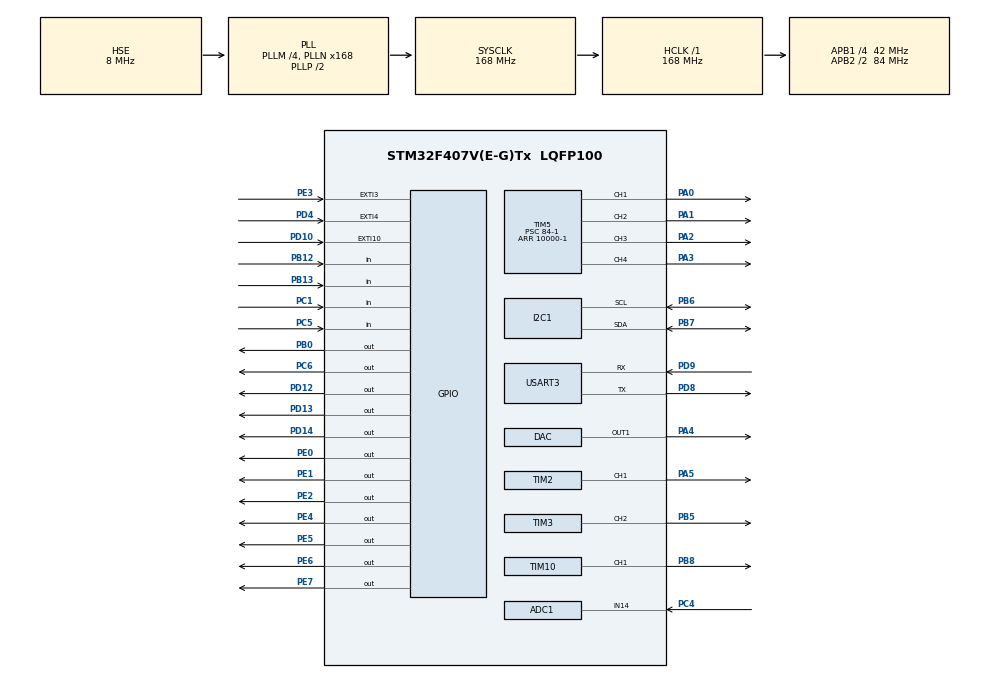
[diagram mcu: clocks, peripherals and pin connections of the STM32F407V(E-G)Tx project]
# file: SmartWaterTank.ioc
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ADC1.Channel-0\#ChannelRegularConversion=ADC_CHANNEL_14
ADC1.ContinuousConvMode=ENABLE
ADC1.DMAContinuousRequests=ENABLE
ADC1.NbrOfConversion=1
ADC1.NbrOfConversionFlag=1
ADC1.Rank-0\#ChannelRegularConversion=1
ADC1.SamplingTime-0\#ChannelRegularConversion=ADC_SAMPLETIME_84CYCLES
ADC1.ScanConvMode=ENABLE
ADC1.master=1
Dma.ADC1.0.Direction=DMA_PERIPH_TO_MEMORY
Dma.ADC1.0.FIFOMode=DMA_FIFOMODE_DISABLE
Dma.ADC1.0.Instance=DMA2_Stream0
Dma.ADC1.0.MemDataAlignment=DMA_MDATAALIGN_HALFWORD
Dma.ADC1.0.MemInc=DMA_MINC_ENABLE
Dma.ADC1.0.Mode=DMA_CIRCULAR
Dma.ADC1.0.PeriphDataAlignment=DMA_PDATAALIGN_HALFWORD
Dma.ADC1.0.PeriphInc=DMA_PINC_DISABLE
Dma.ADC1.0.Priority=DMA_PRIORITY_LOW
Dma.Request0=ADC1
I2C1.I2C_Mode=I2C_Fast
Mcu.Family=STM32F4
Mcu.Name=STM32F407V(E-G)Tx
Mcu.Package=LQFP100
NVIC.DMA2_Stream0_IRQn=true\:0\:0\:false\:false\:true\:false\:true\:true
NVIC.EXTI15_10_IRQn=true\:0\:0\:false\:true\:true\:3\:true\:true\:true
NVIC.EXTI3_IRQn=true\:0\:0\:false\:true\:true\:5\:true\:true\:true
NVIC.EXTI4_IRQn=true\:0\:0\:false\:true\:true\:4\:true\:true\:true
NVIC.PriorityGroup=NVIC_PRIORITYGROUP_4
NVIC.TIM6_DAC_IRQn=true\:0\:0\:false\:true\:true\:8\:true\:true\:true
NVIC.TIM7_IRQn=true\:0\:0\:false\:true\:true\:2\:true\:true\:true
NVIC.TIM8_TRG_COM_TIM14_IRQn=true\:0\:0\:false\:true\:true\:6\:true\:true\:true
NVIC.TIM8_UP_TIM13_IRQn=true\:0\:0\:false\:true\:true\:7\:true\:true\:true
NVIC.USART3_IRQn=true\:0\:0\:false\:true\:true\:1\:true\:true\:true
PA0-WKUP.Signal=S_TIM5_CH1
PA1.Signal=S_TIM5_CH2
PA2.Signal=S_TIM5_CH3
PA3.Signal=S_TIM5_CH4
PA4.Signal=COMP_DAC1_group
PA5.Signal=S_TIM2_CH1_ETR
PB0.Signal=GPIO_Output
PB12.Signal=GPIO_Input
PB13.Signal=GPIO_Input
PB5.Signal=S_TIM3_CH2
PB6.Mode=I2C
PB6.Signal=I2C1_SCL
PB7.Mode=I2C
PB7.Signal=I2C1_SDA
PB8.Signal=S_TIM10_CH1
PC1.Signal=GPIO_Input
PC14-OSC32_IN.Mode=LSE-External-Oscillator
PC14-OSC32_IN.Signal=RCC_OSC32_IN
PC15-OSC32_OUT.Mode=LSE-External-Oscillator
PC15-OSC32_OUT.Signal=RCC_OSC32_OUT
PC4.Signal=ADCx_IN14
PC5.Signal=GPIO_Input
PC6.Signal=GPIO_Output
PD10.Signal=GPXTI10
PD12.Signal=GPIO_Output
PD13.Signal=GPIO_Output
PD14.Signal=GPIO_Output
PD4.Signal=GPXTI4
PD8.Mode=Asynchronous
PD8.Signal=USART3_TX
PD9.Mode=Asynchronous
PD9.Signal=USART3_RX
PE0.Signal=GPIO_Output
PE1.Signal=GPIO_Output
PE2.Signal=GPIO_Output
PE3.Signal=GPXTI3
PE4.Signal=GPIO_Output
PE5.Signal=GPIO_Output
PE6.Signal=GPIO_Output
PE7.Signal=GPIO_Output
PH0-OSC_IN.Mode=HSE-External-Oscillator
PH0-OSC_IN.Signal=RCC_OSC_IN
PH1-OSC_OUT.Mode=HSE-External-Oscillator
PH1-OSC_OUT.Signal=RCC_OSC_OUT
ProjectManager.HeapSize=0x200
ProjectManager.StackSize=0x400
ProjectManager.TargetToolchain=STM32CubeIDE
RCC.48MHZClocksFreq_Value=84000000
RCC.AHBFreq_Value=168000000
RCC.APB1CLKDivider=RCC_HCLK_DIV4
RCC.APB1Freq_Value=42000000
RCC.APB1TimFreq_Value=84000000
RCC.APB2CLKDivider=RCC_HCLK_DIV2
RCC.APB2Freq_Value=84000000
RCC.APB2TimFreq_Value=168000000
RCC.CortexFreq_Value=168000000
RCC.HCLKFreq_Value=168000000
RCC.HSE_VALUE=8000000
RCC.HSI_VALUE=16000000
RCC.PLLM=4
RCC.PLLN=168
RCC.PLLSourceVirtual=RCC_PLLSOURCE_HSE
RCC.RCC_RTC_Clock_Source_FROM_HSE=RCC_RTCCLKSOURCE_HSE_DIV16
RCC.SYSCLKFreq_VALUE=168000000
RCC.SYSCLKSource=RCC_SYSCLKSOURCE_PLLCLK
RCC.VCOOutputFreq_Value=336000000
RTC.Date=1
RTC.Format=RTC_FORMAT_BIN
RTC.Hours=1
RTC.Minutes=0
RTC.Month=RTC_MONTH_APRIL
RTC.Seconds=0
RTC.SynchPrediv=249
RTC.Year=0
SH.ADCx_IN14.0=ADC1_IN14,IN14
SH.COMP_DAC1_group.0=DAC_OUT1,DAC_OUT1
SH.S_TIM10_CH1.0=TIM10_CH1,PWM Generation1 CH1
SH.S_TIM2_CH1_ETR.0=TIM2_CH1,PWM Generation1 CH1
SH.S_TIM3_CH2.0=TIM3_CH2,PWM Generation2 CH2
SH.S_TIM5_CH1.0=TIM5_CH1,PWM Generation1 CH1
SH.S_TIM5_CH2.0=TIM5_CH2,PWM Generation2 CH2
SH.S_TIM5_CH3.0=TIM5_CH3,PWM Generation3 CH3
SH.S_TIM5_CH4.0=TIM5_CH4,PWM Generation4 CH4
TIM10.Channel=TIM_CHANNEL_1
TIM10.Period=10000-1
TIM10.Prescaler=336-1
TIM10.Pulse=100
TIM13.Period=8399
TIM13.Prescaler=9999
TIM14.Period=8399
TIM14.Prescaler=9999
TIM2.Channel-PWM\ Generation1\ CH1=TIM_CHANNEL_1
TIM2.Period=168-1
TIM2.Prescaler=1000-1
TIM2.Pulse-PWM\ Generation1\ CH1=84
TIM3.Channel-PWM\ Generation2\ CH2=TIM_CHANNEL_2
TIM3.Period=42000-1
TIM3.Prescaler=10-1
TIM3.Pulse-PWM\ Generation2\ CH2=10500-1
TIM4.Period=42000-1
TIM4.Prescaler=19
TIM5.Channel-PWM\ Generation1\ CH1=TIM_CHANNEL_1
TIM5.Channel-PWM\ Generation2\ CH2=TIM_CHANNEL_2
TIM5.Channel-PWM\ Generation3\ CH3=TIM_CHANNEL_3
TIM5.Channel-PWM\ Generation4\ CH4=TIM_CHANNEL_4
TIM5.Period=10000-1
TIM5.Prescaler=84-1
TIM5.Pulse-PWM\ Generation1\ CH1=5000
TIM6.Period=4199
TIM6.Prescaler=9999
TIM7.Period=8399
TIM7.Prescaler=9999
USART3.VirtualMode=VM_ASYNC
VP_RTC_VS_RTC_Activate.Mode=RTC_Enabled
VP_RTC_VS_RTC_Calendar.Mode=RTC_Calendar
VP_TIM10_VS_ClockSourceINT.Mode=Enable_Timer
VP_TIM13_VS_ClockSourceINT.Mode=Enable_Timer
VP_TIM14_VS_ClockSourceINT.Mode=Enable_Timer
VP_TIM2_VS_ClockSourceINT.Mode=Internal
VP_TIM3_VS_ClockSourceINT.Mode=Internal
VP_TIM4_VS_ClockSourceINT.Mode=Internal
VP_TIM5_VS_ClockSourceINT.Mode=Internal
VP_TIM6_VS_ClockSourceINT.Mode=Enable_Timer
VP_TIM7_VS_ClockSourceINT.Mode=Enable_Timer
board=custom

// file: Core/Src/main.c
/* USER CODE BEGIN Header */
/**
  ******************************************************************************
  * @file           : main.c
  * @brief          : Main program body
  ******************************************************************************
  * @attention
  *
  * Copyright (c) 2024 STMicroelectronics.
  * All rights reserved.
  *
  * This software is licensed under terms that can be found in the LICENSE file
  * in the root directory of this software component.
  * If no LICENSE file comes with this software, it is provided AS-IS.
  *
  ******************************************************************************
  */
/* USER CODE END Header */
#include "main.h"
#include "adc.h"
#include "dac.h"
#include "dma.h"
#include "i2c.h"
#include "rtc.h"
#include "tim.h"
#include "usart.h"
#include "gpio.h"

/* USER CODE BEGIN Includes */
#include "CLCD.h"
#include <stdio.h>
#include "7SEG.h"
#include <math.h>// DAC sin wave
#include "stdbool.h"
#include "rtc.h"
#include <time.h>
/* USER CODE END Includes */

/* USER CODE BEGIN PTD */
typedef enum{
   ZERO,
   YEAR,
   MONTH,
   DATE,
   AMPM,
   HOUR,
   MINUTE,
   SECOND, //6
}_SetTime;
typedef enum{ // use only alarm setting
aMONTH,
aDATE,
//aAMPM,
aHOUR,
aMINUTE,
}_SetAlarm ;
typedef enum{
   NO_SET,
   TIME_SET,
   ALARM_SET,
}_MODE;

typedef enum{
   VIEW_VIEW,
   VIEW_NORMAL,
   VIEW_ALARM,
   VIEW_TEST,
   VIEW_CHANGING,
   //BELL,//3
}_VIEW;
typedef enum{
   ALARM_ZERO,
   ALARM_ONE,
   ALARM_TWO,
}_ALARMCALL;
typedef enum{
   NONE,
   SW_ONE,
   SW_TWO,
   SW_THREE,
   SW_FOUR,
}_SW_BUTT0N;
//-=-=-=-------------------------------rebuild timer code-----------//
typedef enum{
   d_setmonths,//0
    d_January, // 1
    d_February,
    d_March,
    d_April,
    d_May,
    d_June,
    d_July,
    d_August,
    d_September,
    d_October,
    d_November,
    d_December, //12
    d_Overmonths, //13
}D_MONTHS;
//----------------------------------------main mode change test by switch------------------//
typedef enum{
   switch_normal, //0
   switch_normalTimeSet,
   switch_alarm,
   switch_alarmTimeSet,
   switch_test,
   switch_viewchanging,
}_SWITCH_VIEWMODE;
/* USER CODE END PTD */

/* USER CODE BEGIN PM */
uint32_t time_sec = 0;
uint8_t toggle=0;  //test

uint8_t AMPM_Change = 0;
uint8_t moter_Change = 0;

uint8_t alarm_flag = 0;

uint8_t tmp = 0;

uint32_t Moter14_PWM_Leval = 0;
uint32_t Moter23_PWM_Leval = 0;
uint32_t view_MoterPower14 =0;
uint32_t view_MoterPower23 =0;

uint8_t testNum = 0;
uint8_t testNum2 = 7;
uint8_t testNum3 = 0;

uint8_t MoterIOset = 0;

uint16_t adcval[1]; // adc1 setting
/* USER CODE END PM */

/* USER CODE BEGIN PV */
//uint8_t rx3_data; // UART

//-----------------------------RTC Input code-------------------------------------------------//
RTC_TimeTypeDef sTime;  //set
RTC_TimeTypeDef aTime; //alarm
//RTC_InitTypeDef sInit;//########################333333

RTC_DateTypeDef sDate; //set
RTC_DateTypeDef aDate; //alarm

//-------------------------------------------------------------------------------------------//

char moter_state[2][3] = {"on", "off"};
char ampm[2][3] = {"AM", "PM"}; //2차원 문자 배열// AM = 0, PM = 1 ?

_SetTime set_time = ZERO; //setmode 0
_MODE mode=NO_SET;  //mode set
_VIEW view=VIEW_NORMAL;
_ALARMCALL alarmcall=ALARM_ZERO;
_SetAlarm setalarm =aMONTH;
_SW_BUTT0N sw_button=NONE;
_SW_BUTT0N direction;
_SW_BUTT0N sw_button_before=NONE;

D_MONTHS d_months = d_setmonths;

_SWITCH_VIEWMODE switch_viewmode = switch_normal;
//-------------------------------------ctrl c+v-----https://eteo.tistory.com/91----------------//
uint32_t old_tick=0;
uint32_t current_tick=0;
uint32_t current_BtnTick=0;

uint32_t old_alarm_tick=0;
uint32_t current_alarm_tick=0;

uint32_t btn_tick=0;

uint8_t alarm_on=0;

uint32_t abuzzer_tick1 = 0;
uint32_t abuzzer_tick2 = 0;
uint32_t abuzzer_tick3 = 0;
uint32_t abuzzer_tick4 = 0;

uint8_t prealarm_state = 0;
uint8_t alarm_state = 0;

int alarmCalled = 0;
int water_change_complete = 0;
int water_change_complete_buzzer = 0;

uint8_t for_test = 0;

//--------------------------------------btn on/off check
typedef struct{
   uint8_t ch;
   uint8_t state;
   uint32_t repeat_time;
   uint32_t pre_time;
}button_obj_t;

typedef struct{
   uint8_t Year;
   uint8_t Months;
   uint8_t Date;
   uint8_t Hour;
   uint8_t Min;
   uint8_t Sec;
}set_daytime;
//suho begin-----------------------------------------//
typedef struct{
   uint8_t aMonths;
   uint8_t aDate;
   uint8_t aHour;
   uint8_t aMin;
}set_alarmtime;
//suho end------------------------------------------//
typedef struct{
   uint8_t m_Year;
   uint8_t m_Months;
   uint8_t m_Date;
   uint8_t m_Hour;
   uint8_t m_Min;
   uint8_t m_Sec;
}set_M_time;

enum notes{ // arr = 168
   do4 = 1915, //261hz
   re4 = 1706, //293,
   mi4 = 1519,//329,
   fa4 = 1432,//349,
   sol4 =1278,//391,
   la4 = 1136,//440,
   ti4 = 1014,//493,
};

typedef struct{
   uint32_t MoterPower14;
   uint32_t MoterPower23;
   bool MoterStart23;
   bool MoterStart14;
   uint8_t PWM_l;
}MoterControl;

//----------------------------InOut System------------//
typedef struct{
	uint8_t Turbidity_1;
	uint8_t AlarmSet_1;
	uint8_t MoterOn_PushSW_1;
}MoterInOutSystem;
//------------------------------------------------------------------------------------------//

/* USER CODE END PV */

void SystemClock_Config(void);
static void MX_NVIC_Init(void);
/* USER CODE BEGIN PFP */
void getBtn();
void move_cur_time(set_M_time *m_time, _SW_BUTT0N  sw_button);
//--------------------------------------------------------------------------btn on/off check
void buttonObjCreate(button_obj_t *p_obj, uint32_t repeat_time);
bool buttonObjGetClicked(button_obj_t *p_obj, uint32_t pressed_time);

void dayDateCreate(set_daytime *t_obj, uint16_t t_year, uint16_t t_months, uint16_t t_date);
void daytimeCreate(set_daytime *t_obj, uint32_t t_hour, uint32_t t_min, uint32_t t_sec);
void daytimeview(set_daytime *t_obj);

void AlarmDateCreate(set_alarmtime *t_obj, uint16_t t_months, uint16_t t_date);
void AlarmtimeCreate(set_alarmtime *t_obj, uint32_t t_hour, uint32_t t_min);

void Set_Move_time(set_daytime *t_obj, set_M_time *m_time);
void Load_timeSet(set_daytime *t_obj, set_M_time *m_time);

void Set_Move_alarm(set_alarmtime *t_obj, set_M_time *m_time);//$$$$$$$$$$$$$$$$$$$$$$
void Load_alarmSet(set_alarmtime *t_obj, set_M_time *m_time);

void MoterCreate(MoterControl *M_obj);
void MoterStart1(MoterControl *M_obj);
void MoterMoving(MoterControl *M_obj);

void ChangeMstate14F(MoterControl *M_obj);
void ChangeMstate14T(MoterControl *M_obj);
void ChangeMstate23F(MoterControl *M_obj);
void ChangeMstate23T(MoterControl *M_obj);

int sound_start(int arr[], int len, int giye, int number, int *play_condition);

void MoterSystemCreate(MoterInOutSystem *MIO_S);

void WaterIOS_PushSw(MoterInOutSystem *MIO_S);
void WaterIOS_Turbidity(MoterInOutSystem *MIO_S);
void WaterIOS_AlarmSet(MoterInOutSystem *MIO_S);

void WaterInOutsystem(MoterInOutSystem *MIO_S, MoterControl *M_obj); // senser, alram, direct SW
/* USER CODE END PFP */

/* USER CODE BEGIN 0 */

//------------------------------------------------------------uart??------------------------//
/*int _write(int file, char* p, int len)
{
   HAL_UART_Transmit(&huart3,  p,  len, 10);
   return len;
}
*/
//-------------------------------------------------------------------------------------------//

/* USER CODE END 0 */

int main(void)
{
  /* USER CODE BEGIN 1 */
   //volatile uint16_t adcval[4];  // adc control ?
  /* USER CODE END 1 */

  /* MCU Configuration--------------------------------------------------------*/

  /* Reset of all peripherals, Initializes the Flash interface and the Systick. */
  HAL_Init();

  /* Configure the system clock */
  SystemClock_Config();

  /* Initialize all configured peripherals */
  MX_GPIO_Init();
  MX_DMA_Init();
  MX_USART3_UART_Init();
  MX_TIM7_Init();
  MX_TIM3_Init();
  MX_TIM4_Init();
  MX_TIM10_Init();
  MX_TIM2_Init();
  MX_TIM5_Init();
  MX_ADC1_Init();
  MX_DAC_Init();
  MX_I2C1_Init();
  MX_RTC_Init();
  MX_TIM13_Init();
  MX_TIM14_Init();
  MX_TIM6_Init();

  /* Initialize interrupts */
  MX_NVIC_Init();
  /* USER CODE BEGIN 2 */
  //---------------------------------------------------------right led --//use PMW -> TIM3_CH1,2,3-----//
    HAL_GPIO_WritePin(GPIOC, GPIO_PIN_6, GPIO_PIN_SET);
    HAL_GPIO_WritePin(GPIOB, GPIO_PIN_0, GPIO_PIN_SET);
    HAL_GPIO_WritePin(GPIOB, GPIO_PIN_5, GPIO_PIN_SET);
  //---------------------------------------------------------left led---//use PMW -> TIM4_CH1,2,3-----//
    HAL_GPIO_WritePin(GPIOD, GPIO_PIN_12, GPIO_PIN_SET);
    HAL_GPIO_WritePin(GPIOD, GPIO_PIN_13, GPIO_PIN_SET);
    HAL_GPIO_WritePin(GPIOD, GPIO_PIN_14, GPIO_PIN_SET);
  //----------------------------------------------------------------------------------------------//
    //HAL_UART_Receive_IT(&huart3, &rx3_data, 1);  //lesson 2-3 make uart Intterupt
    HAL_TIM_Base_Start_IT(&htim7);// system clock?--------------------------TIM7----1.0s------------//

    HAL_TIM_Base_Start_IT(&htim6);
    HAL_TIM_Base_Start_IT(&htim13);
    HAL_TIM_Base_Start_IT(&htim14);
    //---------------------CLCD Setting--------------------------------------------------------//
    CLCD_GPIO_Init();
    CLCD_Init();
    //------------------------------------------------------------------------------------------//
    //CLCD_Puts(0,0, "Welcome to");
    //CLCD_Puts(0,1, "M-HIVE");
    CLCD_Clear();

    _7SEG_GPIO_Init();// _7SEG_GPIO Setting-----------------------------------------------//

 //-------------------------------------------led PWM Control---------if use this, go down "TIM3,4 Interrupt"------//
    /*
    HAL_TIM_PWM_Start(&htim3, TIM_CHANNEL_1);  //R led
    HAL_TIM_PWM_Start(&htim3, TIM_CHANNEL_2);
    HAL_TIM_PWM_Start(&htim3, TIM_CHANNEL_3);

    HAL_TIM_PWM_Start(&htim4, TIM_CHANNEL_1);  //L led
    HAL_TIM_PWM_Start(&htim4, TIM_CHANNEL_2);
    HAL_TIM_PWM_Start(&htim4, TIM_CHANNEL_3);
    */
 //-----------------------------------------------------------------------------------------------------------//
    //HAL_TIM_PWM_Start(&htim2, TIM_CHANNEL_1); //buzzer
     //HAL_TIM_PWM_Start(&htim5, TIM_CHANNEL_1);  // dc moter
     //HAL_TIM_PWM_Start(&htim5, TIM_CHANNEL_4); // dc moter

    //HAL_ADC_Start_DMA(&hadc1, adcval[0], 4);
    //HAL_DAC_Start(&hdac, DAC_CHANNEL_1);
    HAL_ADC_Start_DMA(&hadc1, &adcval[0], 1);
 //----------------------------------new time code start-------------------------------------------------//
    button_obj_t push_btn; //+++++++
    buttonObjCreate(&push_btn, 1000); // (button_obj_t *p_obj, uint32_t repeat_time);@@@@@@@@@@@@@@@@@@@@@@@@@@@@@

    set_daytime d_date;
    dayDateCreate(&d_date, 24, 12, 31);
    daytimeCreate(&d_date, 23, 59, 58);

    set_alarmtime a_date; //suho
    AlarmDateCreate(&a_date, 01, 02);
    AlarmtimeCreate(&a_date, 03, 00);

   MoterControl m_con;
   MoterCreate(&m_con);

	MoterInOutSystem MIOS;
	MoterSystemCreate(&MIOS);
    //=========================================================rebuild timer========//
    set_M_time M_Time;
//------------------------------------------------------------------------------------------------//
    uint8_t alarm=1;

  /* USER CODE END 2 */

  /* Infinite loop */
  /* USER CODE BEGIN WHILE */
    uint8_t str[20]; // used CLCD
    uint8_t tmpDate[20]; // CLCD
    uint8_t tmpTime[20]; // CLCD
    uint8_t tmpMode[20];
    uint8_t tmpCLCD[20];

    uint8_t pretmp = 1;
    //uint8_t arr = TIM2 -> ARR;

    enum notes A[] = {mi4, re4, do4, re4, mi4, mi4, mi4, re4, re4, re4, mi4, mi4, mi4};
    int notes_num[] = {2,7,1,7,0,7,1,7,2,7,2,7,2,7,1,7,1,7,1,7,2,7,2,7,2,8};
    int aa = sizeof(notes_num)/sizeof(int);
    int test_num = 0;

    //uint16_t ccr = 0;   //led pwm control
    //uint16_t psc = 1000; //??
    //uint8_t ud_flag = 0; //??
    //uint16_t dacval = 0;//dac control

    uint8_t alarm_from_nowon = 0;
//$$$$$$$$$$$$$$$$$$$$$$$$$$$$$$$$$$$$$$$$$$$$$$$$$$$$$$$$$$$$$$$$$$$$$$$$$$$$$$$$$$$$$$$$$$$$$$$$$$$$$$$$$$$$$$$$44//
    uint8_t old_Sec = d_date.Sec;
    uint8_t k =0;

    int l = 0;
    int j = notes_num[l];
    int na = 0;
    uint16_t turbidity = adcval[0]; // turbidity value in
  while (1)
  {
	  MoterStart1(&m_con); //moter14 and 23 start/stop
	  MoterMoving(&m_con);// moter power level up/down
	  current_BtnTick=HAL_GetTick();// need buttonObjGetClicked
	  daytimeview(&d_date);// timer starting
//--switch changing code test start---------------------------------------------------------------//
	  switch (switch_viewmode) { // was view and mode change
	  case switch_normal :
//case 0=switch_normal================================================================//
		  sprintf(tmpDate, "TIME 20%02d.%02d.%02d ", d_date.Year, d_date.Months, d_date.Date); //CLCD 16
		  CLCD_Puts(0,0, tmpDate);
		  sprintf(tmpTime, "       %02d:%02d    ", d_date.Hour, d_date.Min); // [7], 5, [4] = 16
		  CLCD_Puts(0,1, tmpTime);

		  if(old_Sec != d_date.Sec){ //_7SEG_led *
			  _7SEG_SetNumber(DGT1, d_date.Sec/10, OFF);
			  _7SEG_SetNumber(DGT2, d_date.Sec%10, ON);
			  old_Sec = d_date.Sec;
		  }

//-----------------------------------------------------btn on/off check start------------------------------------//
		  getBtn();// What Btn?
		  if(buttonObjGetClicked(&push_btn, 50) == true) //pressed_time
		  {
			  move_cur_time(&M_Time, sw_button);
		  }
//-----------------------------------------------------btn on/off check end------------------------------------//
		  if(sw_button==SW_ONE){// butten push long ,
			  current_tick=HAL_GetTick();// new time set Continue
			  if(current_tick-old_tick > 2000){// 2.0s over
				old_tick=current_tick;//old_tick Time reset
				Load_timeSet(&d_date, &M_Time);
				sw_button=NONE;

				switch_viewmode = switch_normalTimeSet; // = case 1
				}
		  }
		  break;

	  case switch_normalTimeSet :
//1=switch_normalTimeSet================================================================//
		getBtn();
		if(buttonObjGetClicked(&push_btn, 50) == true) //pressed_time
		{
		   move_cur_time(&M_Time, sw_button);
		}
// -----set blinking-----------------------------------------------//
		if(toggle){ // toggle is 0.5s -> 0 or 1 change
		  sprintf(tmpDate, "TIME 20%02d.%02d.%02d ", M_Time.m_Year, M_Time.m_Months, M_Time.m_Date); //CLCD 16
		  CLCD_Puts(0,0, tmpDate);
		  sprintf(tmpTime, "SET %s %02d:%02d    ", ampm[AMPM_Change], M_Time.m_Hour, M_Time.m_Min); // 12, [4] = 16
		  CLCD_Puts(0,1, tmpTime);

		}else{ //toggle = 0
			if(set_time==YEAR){
				sprintf(tmpDate,"TIME 20  .%02d.%02d ", M_Time.m_Months, M_Time.m_Date); //YEAR place [ ]
			}else if(set_time==MONTH){
				sprintf(tmpDate,"TIME 20%02d.  .%02d ", M_Time.m_Year, M_Time.m_Date);
			}else if(set_time==DATE){
				sprintf(tmpDate,"TIME 20%02d.%02d.   ", M_Time.m_Year, M_Time.m_Months);
			}else if(set_time==AMPM){
				sprintf(tmpTime,"SET    %02d:%02d    ", M_Time.m_Hour, M_Time.m_Min);
			}else if(set_time==HOUR){
				sprintf(tmpTime,"SET %s   :%02d    ", ampm[AMPM_Change], M_Time.m_Min);
			}else if(set_time==MINUTE){
				sprintf(tmpTime,"SET %s %02d:      ", ampm[AMPM_Change], M_Time.m_Hour);
			}
		}
		CLCD_Puts(0,0, tmpDate);
        CLCD_Puts(0,1, tmpTime);
//---------------------------------------------blinking END-------------------------------------------------//
        if(old_Sec != d_date.Sec){
			 _7SEG_SetNumber(DGT1, d_date.Sec/10, OFF);
			 _7SEG_SetNumber(DGT2, d_date.Sec%10, ON);
			 old_Sec = d_date.Sec;
        }

        if(sw_button==SW_ONE){// butten push long ,
        	current_tick=HAL_GetTick();// new time set Continue
        	if(current_tick-old_tick > 2000){// 2.0s over
			  old_tick=current_tick;//old_tick Time reset
			  Set_Move_time(&d_date, &M_Time); // d_date <- m_Time
			  CLCD_Clear();
			  switch_viewmode = switch_normal; // = case 0
        	}
        }
        break;
	  case switch_alarm :
//2=switch_alarm================================================================//
	         if(alarmcall==ALARM_ZERO){ // how many alarms? one, two
	            sprintf(tmpMode,"ALARM%d OFF %02d.%02d",alarm, a_date.aMonths, a_date.aDate);
	            CLCD_Puts(0,0, tmpMode);
	            sprintf(tmpTime,"A    %02d:%02d    ", a_date.aHour, a_date.aMin);
	            CLCD_Puts(0,1, tmpTime);
	         }else if(alarmcall==ALARM_ONE){ // is alarm setting after view
	            sprintf(tmpMode,"ALARM%d ON  %02d.%02d",alarm, a_date.aMonths, a_date.aDate);
	            CLCD_Puts(0,0, tmpMode);
	            sprintf(tmpTime,"A    %02d:%02d    ", a_date.aHour, a_date.aMin);
	            CLCD_Puts(0,1, tmpTime);
	         }
	         getBtn();// What Btn?
	         if(buttonObjGetClicked(&push_btn, 50) == true)
	         {
	              move_cur_time(&M_Time, sw_button);
	         }

	           if(sw_button==SW_ONE){// butten push long ,
	              current_tick=HAL_GetTick();// new time set Continue
	            if(current_tick-old_tick > 2000){// 2.0s over
	               old_tick=current_tick;//old_tick Time reset
	               Load_alarmSet(&a_date, &M_Time);
	               switch_viewmode = switch_alarmTimeSet; // = case 3
	            }
	         }
		  break;
	  case switch_alarmTimeSet :
//3=switch_alarmTimeSet================================================================//
	  getBtn();
      if(buttonObjGetClicked(&push_btn, 50) == true) //pressed_time
        {
           move_cur_time(&M_Time, sw_button);
        }
//---------------------------------------------------------------------------------------//
        if(toggle){//blink_time
           sprintf(tmpMode,"ALARM%d OFF %02d.%02d",alarm, M_Time.m_Months, M_Time.m_Date);
         CLCD_Puts(0,0, tmpMode);
         sprintf(tmpTime,"SET  %02d:%02d    ", M_Time.m_Hour, M_Time.m_Min);
         CLCD_Puts(0,1, tmpTime);
        }else{ //toggle = 0
			 if(setalarm==aMONTH){
				sprintf(tmpMode,"ALARM%d OFF   .%02d", alarm, M_Time.m_Date);
			 }else if(setalarm==aDATE){
				sprintf(tmpMode,"ALARM%d OFF %02d.  ", alarm, M_Time.m_Months);
			 }else if(setalarm==aHOUR){
				sprintf(tmpTime,"SET    :%02d    ", M_Time.m_Min);
			 }else if(setalarm==aMINUTE){
				sprintf(tmpTime,"SET  %02d:      ", M_Time.m_Hour);
			 }
        }
          CLCD_Puts(0,0, tmpMode);
          CLCD_Puts(0,1, tmpTime);
//---------------------------------------------------------------------------------------//
        if(old_Sec != d_date.Sec){
           _7SEG_SetNumber(DGT1, d_date.Sec/10, OFF);
           _7SEG_SetNumber(DGT2, d_date.Sec%10, ON);
           old_Sec = d_date.Sec;
        }
//---------------------------------------------------------------------------------------//
          if(sw_button==SW_ONE){
             current_tick=HAL_GetTick();
             if(current_tick-old_tick > 2000){ // if pressed 1.0s over
                old_tick=current_tick;
                Set_Move_alarm(&a_date, &M_Time);
              alarmcall=ALARM_ONE;
              prealarm_state = 0; // just 1 music
              switch_viewmode = switch_alarm; // = case 2
              CLCD_Clear();
             }
          }
		  break;
	  case switch_test :
//4=switch_test================================================================//
		  getBtn();// What Btn?
		   if(buttonObjGetClicked(&push_btn, 50) == true)
		   {
				move_cur_time(&M_Time, sw_button);
		   }

	        if(old_Sec != d_date.Sec){
	           _7SEG_SetNumber(DGT1, d_date.Sec/10, OFF);
	           _7SEG_SetNumber(DGT2, d_date.Sec%10, ON);
	           old_Sec = d_date.Sec;
	        }

	        if(testNum3 == 1){
	        	WaterIOS_PushSw(&MIOS);
	        	MoterIOset = 5; // 5 is motersystem start setting
	        }

//		  sprintf(tmpDate,"    %d %d ", turbidity, testNum2);
//		  CLCD_Puts(0,0, tmpDate);
	        sprintf(str,"%d    %d  ", turbidity, testNum2);
	        CLCD_Puts(0,0, str);
//	        sprintf(str,"%d   ", testNum3);
//	        CLCD_Puts(0,1, str);
	        break;

	  case switch_viewchanging :
//5=switch_viewchanging================================================================//
			 getBtn();// What Btn?
			 abuzzer_tick4 = HAL_GetTick();
			 if(abuzzer_tick4 - abuzzer_tick3 == 3000){
				 switch_viewmode = switch_normal; // = case 0
			 }
		  break;
	  }
//----switch changing code test end- 2024-05-09------------------------------------------------------------------//

//-alarm time == date time -> alarm start--------------------------------------------------------------------//
//       if(a_date.aMonths == d_date.Months &&
//             a_date.aDate == d_date.Date&&
//           a_date.aHour == d_date.Hour&&
//           a_date.aMin == d_date.Min &&
//           alarm_state == prealarm_state){// if alarm_state = 0, alarm on and prealarm_state go to 0 -> 3
//         CLCD_Clear();
//          alarm_on = 1;
//        prealarm_state =3;
//        abuzzer_tick1 = HAL_GetTick(); // keep going
//        abuzzer_tick2 = HAL_GetTick(); // 5s ckecking and 0 to 5
//        abuzzer_tick3 = HAL_GetTick();
//
//          sprintf(tmpCLCD, "changing water");
//          CLCD_Puts(0, 0, tmpCLCD);
//
//          HAL_TIM_PWM_Start(&htim2, TIM_CHANNEL_1);
//
//          WaterIOS_AlarmSet(&MIOS);
//          MoterIOset = 5; // 5 is motersystem start setting
//       }
//
////----------------------------------------------------------------------------------------------//
//	  if(alarm_on == 1){
//		  //l -> 0,1,2,3,4~ 25// IF l= 25, no sound and l = 0;
//		  l = sound_start(notes_num, aa, notes_num[l], l, &alarm_on);
//		  // array of melody, len of array, giye name, up count
//	  }

 //---------------------------------------------------------------------------------------//

	  if(turbidity > 3500) {
		  if (MoterIOset == 0) {
//			  sprintf(str,"%d   ", testNum3);
//			  CLCD_Puts(0,1, str);
			  sprintf(str,"%d    ", turbidity);
			  CLCD_Puts(0,0, str);
			  WaterIOS_Turbidity(&MIOS);
			  		  MoterIOset = 5;
		  }
	  }
//	 if (turbidity < 3500) {
		//ChangeMstate14T(&m_con); //water out start
		//OutMotor = 1;
//	 WaterIOS_Turbidity(&MIOS);
//	 }

//	 if (HAL_GPIO_ReadPin(GPIOB, GPIO_PIN_12) == GPIO_PIN_SET) { // set = 1(LED on), reset = 0
//		ChangeMstate14F(&m_con); //water out stop
//		ChangeMstate23T(&m_con); //water in start
//		//OutMotor = 0;
//		//InMotor = 1;
//	 }
//	 if (HAL_GPIO_ReadPin(GPIOB, GPIO_PIN_13) == GPIO_PIN_SET) {
//		ChangeMstate23F(&m_con); //water in stop
//		//InMotor = 0;
//	 }

//	  WaterInOutsystem(&MIOS, &m_con);
//****************************************END WHILE****************************--------------move code CV end---------------//

    /* USER CODE END WHILE */

    /* USER CODE BEGIN 3 */
  }//WHILE END
    //========================================================================================================//
  /* USER CODE END 3 */
}

void SystemClock_Config(void)
{
  RCC_OscInitTypeDef RCC_OscInitStruct = {0};
  RCC_ClkInitTypeDef RCC_ClkInitStruct = {0};

  /** Configure the main internal regulator output voltage
  */
  __HAL_RCC_PWR_CLK_ENABLE();
  __HAL_PWR_VOLTAGESCALING_CONFIG(PWR_REGULATOR_VOLTAGE_SCALE1);

  /** Initializes the RCC Oscillators according to the specified parameters
  * in the RCC_OscInitTypeDef structure.
  */
  RCC_OscInitStruct.OscillatorType = RCC_OSCILLATORTYPE_LSI|RCC_OSCILLATORTYPE_HSE;
  RCC_OscInitStruct.HSEState = RCC_HSE_ON;
  RCC_OscInitStruct.LSIState = RCC_LSI_ON;
  RCC_OscInitStruct.PLL.PLLState = RCC_PLL_ON;
  RCC_OscInitStruct.PLL.PLLSource = RCC_PLLSOURCE_HSE;
  RCC_OscInitStruct.PLL.PLLM = 4;
  RCC_OscInitStruct.PLL.PLLN = 168;
  RCC_OscInitStruct.PLL.PLLP = RCC_PLLP_DIV2;
  RCC_OscInitStruct.PLL.PLLQ = 4;
  if (HAL_RCC_OscConfig(&RCC_OscInitStruct) != HAL_OK)
  {
    Error_Handler();
  }

  /** Initializes the CPU, AHB and APB buses clocks
  */
  RCC_ClkInitStruct.ClockType = RCC_CLOCKTYPE_HCLK|RCC_CLOCKTYPE_SYSCLK
                              |RCC_CLOCKTYPE_PCLK1|RCC_CLOCKTYPE_PCLK2;
  RCC_ClkInitStruct.SYSCLKSource = RCC_SYSCLKSOURCE_PLLCLK;
  RCC_ClkInitStruct.AHBCLKDivider = RCC_SYSCLK_DIV1;
  RCC_ClkInitStruct.APB1CLKDivider = RCC_HCLK_DIV4;
  RCC_ClkInitStruct.APB2CLKDivider = RCC_HCLK_DIV2;

  if (HAL_RCC_ClockConfig(&RCC_ClkInitStruct, FLASH_LATENCY_5) != HAL_OK)
  {
    Error_Handler();
  }
}

/**
  * @brief NVIC Configuration.
  * @retval None
  */
static void MX_NVIC_Init(void)
{
  /* USART3_IRQn interrupt configuration */
  HAL_NVIC_SetPriority(USART3_IRQn, 0, 0);
  HAL_NVIC_EnableIRQ(USART3_IRQn);
  /* TIM7_IRQn interrupt configuration */
  HAL_NVIC_SetPriority(TIM7_IRQn, 0, 0);
  HAL_NVIC_EnableIRQ(TIM7_IRQn);
  /* EXTI15_10_IRQn interrupt configuration */
  HAL_NVIC_SetPriority(EXTI15_10_IRQn, 0, 0);
  HAL_NVIC_EnableIRQ(EXTI15_10_IRQn);
  /* EXTI4_IRQn interrupt configuration */
  HAL_NVIC_SetPriority(EXTI4_IRQn, 0, 0);
  HAL_NVIC_EnableIRQ(EXTI4_IRQn);
  /* EXTI3_IRQn interrupt configuration */
  HAL_NVIC_SetPriority(EXTI3_IRQn, 0, 0);
  HAL_NVIC_EnableIRQ(EXTI3_IRQn);
  /* TIM8_TRG_COM_TIM14_IRQn interrupt configuration */
  HAL_NVIC_SetPriority(TIM8_TRG_COM_TIM14_IRQn, 0, 0);
  HAL_NVIC_EnableIRQ(TIM8_TRG_COM_TIM14_IRQn);
  /* TIM8_UP_TIM13_IRQn interrupt configuration */
  HAL_NVIC_SetPriority(TIM8_UP_TIM13_IRQn, 0, 0);
  HAL_NVIC_EnableIRQ(TIM8_UP_TIM13_IRQn);
  /* TIM6_DAC_IRQn interrupt configuration */
  HAL_NVIC_SetPriority(TIM6_DAC_IRQn, 0, 0);
  HAL_NVIC_EnableIRQ(TIM6_DAC_IRQn);
}

/* USER CODE BEGIN 4 */
//--------------------------------------------------------------------rebuild timer----------------//
void dayDateCreate(set_daytime *t_obj, uint16_t t_year, uint16_t t_months, uint16_t t_date)
{
   t_obj -> Year = t_year;

   d_months = t_months;
   t_obj -> Months = d_months;

   t_obj -> Date = t_date;
}

void daytimeCreate(set_daytime *t_obj, uint32_t t_hour, uint32_t t_min, uint32_t t_sec)
{
   t_obj -> Hour = t_hour;
   t_obj -> Min = t_min;

   time_sec = t_sec;
   //t_obj -> sec = time_sec;
}

void AlarmDateCreate(set_alarmtime *t_obj, uint16_t t_months, uint16_t t_date)
{
   t_obj -> aMonths = t_months;
   t_obj -> aDate = t_date;
}

void AlarmtimeCreate(set_alarmtime *t_obj, uint32_t t_hour, uint32_t t_min)
{
   t_obj -> aHour = t_hour;
   t_obj -> aMin = t_min;

   //time_sec = t_sec;
   //t_obj -> sec = time_sec;
}

void daytimeview(set_daytime *t_obj) // timer starting
{
   t_obj -> Sec = time_sec;
   if(t_obj -> Sec >= 60){
      t_obj -> Sec = 0;
      time_sec=0;
      t_obj -> Min++;
   }
   if(t_obj -> Min >= 60){
      t_obj -> Min = 0;
      t_obj -> Hour++;
   }
   if(t_obj -> Hour > 23){
      t_obj -> Hour = 0;
      t_obj -> Date++;
   }
   if(t_obj ->Months ==1||t_obj ->Months ==3||t_obj ->Months ==5||t_obj ->Months ==7||t_obj ->Months ==8||t_obj ->Months ==10||t_obj ->Months ==12){
      if(t_obj -> Date > 31){
         t_obj -> Date = 1;
         d_months++;
         if(d_months > 12){
            d_months = 1;
            t_obj ->Year++;
         }
      }

   }else if(t_obj ->Months ==4||t_obj ->Months ==6||t_obj ->Months ==9||t_obj ->Months ==11){
      if(t_obj -> Date > 30){
         t_obj -> Date = 1;
         d_months++;
      }
   }else if(t_obj ->Months ==2){
      if(t_obj ->Date > 28){
         t_obj -> Date = 1;
         d_months++;
      }
   }
   t_obj ->Months = d_months;

}

void Set_Move_time(set_daytime *t_obj, set_M_time *m_time)
{
   t_obj -> Year = m_time -> m_Year;
   t_obj -> Months = m_time -> m_Months;
   t_obj -> Date = m_time -> m_Date;
   t_obj -> Hour = m_time -> m_Hour;
   t_obj -> Min = m_time -> m_Min;
}

void Load_timeSet(set_daytime *t_obj, set_M_time *m_time)
{
   m_time -> m_Year = t_obj -> Year;
   m_time -> m_Months= t_obj -> Months;
   m_time -> m_Date = t_obj -> Date;
   m_time -> m_Hour = t_obj -> Hour;
   m_time -> m_Min = t_obj -> Min;
}

void Set_Move_alarm(set_alarmtime *t_obj, set_M_time *m_time) // suho
{
   //t_obj -> aYear = m_time -> m_Year;
   t_obj -> aMonths = m_time -> m_Months;
   t_obj -> aDate = m_time -> m_Date;
   t_obj -> aHour = m_time -> m_Hour;
   t_obj -> aMin = m_time -> m_Min;
}

void Load_alarmSet(set_alarmtime *t_obj, set_M_time *m_time)
{
   //m_time -> m_Year = t_obj -> aYear;
   m_time -> m_Months= t_obj -> aMonths;
   m_time -> m_Date = t_obj -> aDate;
   m_time -> m_Hour = t_obj -> aHour;
   m_time -> m_Min = t_obj -> aMin;
}
//--------------------------------------------------------------------Btn on/off check---------------//
void buttonObjCreate(button_obj_t *p_obj, uint32_t repeat_time)
{
   //p_obj -> ch = ch;
   p_obj -> pre_time = current_BtnTick;
   p_obj -> state = 0;
   p_obj -> repeat_time = repeat_time;
}
bool buttonObjGetClicked(button_obj_t *p_obj, uint32_t pressed_time)//push_btn, 100
{
   bool ret = false;

   switch(p_obj->state)
   {
   case 0:
      if(sw_button==SW_ONE||sw_button==SW_TWO||sw_button==SW_THREE||sw_button==SW_FOUR)
      {
         p_obj->state = 1;
         p_obj->pre_time = current_BtnTick;// = Gettick;
      }else{
         //HAL_TIM_PWM_Stop(&htim2, TIM_CHANNEL_1);
      }
      break;

   case 1:
      if(sw_button==SW_ONE||sw_button==SW_TWO||sw_button==SW_THREE||sw_button==SW_FOUR)
      {
         if(current_BtnTick-p_obj->pre_time >=pressed_time){//pressed_time
            ret = true; //------------------------------------clicked

            p_obj->state = 2;
            p_obj->pre_time = current_BtnTick; //
            //HAL_TIM_PWM_Start(&htim2, TIM_CHANNEL_1); //buzzer
         }
         //btn_tick = current_tick;

      }
      else
      {
         p_obj->state = 0;
      }
      break;

   case 2:
      if(sw_button==SW_ONE||sw_button==SW_TWO||sw_button==SW_THREE||sw_button==SW_FOUR)
      {
         if(current_BtnTick-p_obj->pre_time >= p_obj->repeat_time) //
         {
            p_obj->state = 1;
            p_obj->pre_time = current_BtnTick;
         }

      }
      else
      {
         p_obj->state = 0;
      }
      break;
   }

   return ret;
}
//=----------------------------my---------------------------------------code butten------//
void getBtn(){
   if(HAL_GPIO_ReadPin(GPIOE, GPIO_PIN_3)){
      sw_button=SW_ONE;
   }else if(HAL_GPIO_ReadPin(GPIOC, GPIO_PIN_15)){
      sw_button=SW_TWO;
   }else if(HAL_GPIO_ReadPin(GPIOD, GPIO_PIN_4)){
      sw_button=SW_THREE;
   }else if(HAL_GPIO_ReadPin(GPIOD, GPIO_PIN_10)){
      sw_button=SW_FOUR;
   }else{
      sw_button=NONE;
   }
}

//-----sound function begin----//

// array of melody, n = 0, i = array_of_melody[n]
int sound_start(int arr[], int len, int giye, int number, int *play_condition){
   switch(giye){
       case 0 :
          TIM2 -> PSC = 1915; // do
           abuzzer_tick2 = HAL_GetTick();

           if(abuzzer_tick2-abuzzer_tick1 >500){
              number++;
               giye=arr[number];
               abuzzer_tick1 = abuzzer_tick2;
           }break;

       case 1 :
          TIM2 -> PSC = 1706; //re
          abuzzer_tick2 = HAL_GetTick();

          if(abuzzer_tick2-abuzzer_tick1 >500){
             number++;
             giye=arr[number];
             abuzzer_tick1 = abuzzer_tick2;
          }break;

       case 2 :
          TIM2 -> PSC = 1519; //mi
          abuzzer_tick2 = HAL_GetTick();

          if(abuzzer_tick2-abuzzer_tick1 >500){
             number++;
             giye=arr[number];
             abuzzer_tick1 = abuzzer_tick2;
          }break;

       case 3 :
          TIM2 -> PSC = 1432; //fa
          abuzzer_tick2 = HAL_GetTick();

          if(abuzzer_tick2-abuzzer_tick1 >500){
             number++;
             giye=arr[number];
             abuzzer_tick1 = abuzzer_tick2;
          }break;

       case 4 :
          TIM2 -> PSC = 1278; //sol
          abuzzer_tick2 = HAL_GetTick();

          if(abuzzer_tick2-abuzzer_tick1 >500){
             number++;
             giye=arr[number];
             abuzzer_tick1 = abuzzer_tick2;
          }break;

       case 5 :
          TIM2 -> PSC = 1136; //la
          abuzzer_tick2 = HAL_GetTick();

          if(abuzzer_tick2-abuzzer_tick1 >500){
             number++;
             giye=arr[number];
             abuzzer_tick1 = abuzzer_tick2;
          }break;

       case 6 :
          TIM2 -> PSC = 1014; //ti
          abuzzer_tick2 = HAL_GetTick();

          if(abuzzer_tick2-abuzzer_tick1 >500){
             number++;
             giye=arr[number];
             abuzzer_tick1 = abuzzer_tick2;
          }break;

       case 7 :
          HAL_TIM_PWM_Stop(&htim2,TIM_CHANNEL_1); //not sound
          abuzzer_tick2 = HAL_GetTick();

          if(abuzzer_tick2-abuzzer_tick1 >100){
             HAL_TIM_PWM_Start(&htim2, TIM_CHANNEL_1);
             number++;
             giye=arr[number];
             abuzzer_tick1 = abuzzer_tick2;
          }break;

       case 8 :
          number = 0;
            //prealarm_state = 1;
            HAL_TIM_PWM_Stop(&htim2, TIM_CHANNEL_1);
            *play_condition = 0; // sound finish

            abuzzer_tick1 == 0;
            abuzzer_tick2 == 0;
	} // switch end
   return number;
}//void funtion end

//-----sound function end----//
//-------------------------------Water inOutsystem-Start----------------//
void MoterSystemCreate(MoterInOutSystem *MIO_S)
{
	MIO_S -> Turbidity_1 = 0;
	MIO_S -> AlarmSet_1 = 0;
	MIO_S -> MoterOn_PushSW_1 = 0;
}
void WaterIOS_PushSw(MoterInOutSystem *MIO_S)
{
	MIO_S -> MoterOn_PushSW_1 = 1;
}
void WaterIOS_Turbidity(MoterInOutSystem *MIO_S)
{
	MIO_S -> Turbidity_1 = 1;
}
void WaterIOS_AlarmSet(MoterInOutSystem *MIO_S)
{
	MIO_S -> AlarmSet_1 = 1;
}

void WaterInOutsystem(MoterInOutSystem *MIO_S, MoterControl *M_obj) // senser, alram, direct SW
{
	switch(MoterIOset){
	case 5 :
		testNum2 = 5;
		if(MIO_S -> MoterOn_PushSW_1 == 1 || MIO_S -> Turbidity_1 == 1 || MIO_S -> AlarmSet_1 == 1){ // push butten to waterChange
				MoterIOset = 1;
				testNum = 4;
			}
		break;
	case 1 : //Out Moter ON
		testNum2 = 1;
		//ChangeMstate23T(&m_con);
		M_obj -> MoterStart23 = true; // is Out Moter

		MoterIOset = 2;
		MIO_S -> MoterOn_PushSW_1 = 0;
		MIO_S -> Turbidity_1 = 0;
		MIO_S -> AlarmSet_1 = 0;
		break;
	case 2 : //Out Moter Off, In Moter On
		testNum2 = 2;
		if (HAL_GPIO_ReadPin(GPIOB, GPIO_PIN_12) == GPIO_PIN_SET) { // set = 1(LED on), reset = 0 //down
			//HAL_GPIO_WritePin(GPIOC, GPIO_PIN_6, GPIO_PIN_RESET);//led 0n
			//ChangeMstate23F(&m_con); //water out stop
			M_obj -> MoterStart23 = false;
			//ChangeMstate14T(&m_con); //water in start
			M_obj -> MoterStart14 = true;
			MoterIOset = 3;
			}
				//HAL_GPIO_WritePin(GPIOC, GPIO_PIN_6, GPIO_PIN_SET);//led off
		break;
	case 3 : // In Moter off, #if inWater not go case 4
		testNum2 = 3;
		//------END MoterChange, reset-------------------------------------------//
		if (HAL_GPIO_ReadPin(GPIOB, GPIO_PIN_13) == GPIO_PIN_RESET) { //up
			//HAL_GPIO_WritePin(GPIOD, GPIO_PIN_12, GPIO_PIN_SET);//led 0n
			//ChangeMstate14F(&m_con); //water in stop
			M_obj -> MoterStart14 = false;
			MoterIOset = 0;

		// end MoterChange, reset-------------------------------------------------//

		//#if inWater not, go case 4
		}else{
			//HAL_GPIO_WritePin(GPIOD, GPIO_PIN_12, GPIO_PIN_RESET);//led 0n
		}

		if(HAL_GPIO_ReadPin(GPIOC, GPIO_PIN_5) == GPIO_PIN_SET) {
			//HAL_GPIO_WritePin(GPIOD, GPIO_PIN_13, GPIO_PIN_RESET);//led 0n
			//ChangeMstate14F(&m_con); //water in start
			M_obj -> MoterStart14 = false;
			MoterIOset = 4;
		}else{
			//HAL_GPIO_WritePin(GPIOD, GPIO_PIN_13, GPIO_PIN_SET);//led OFF
		}
		break;
	case 4 : //#if inWater is, go case 3
		testNum2 = 4;
		if(HAL_GPIO_ReadPin(GPIOC, GPIO_PIN_5) == GPIO_PIN_RESET) {
			//HAL_GPIO_WritePin(GPIOB, GPIO_PIN_0, GPIO_PIN_SET);//led OFF
			//ChangeMstate14T(&m_con); //water in start
			M_obj -> MoterStart14 = true;
			MoterIOset = 3;
		}else{
			//HAL_GPIO_WritePin(GPIOB, GPIO_PIN_0, GPIO_PIN_RESET);//led 0n
		}
		break;
	}
}

//-------------------------------Water inOutsystem-End----------------//
void move_cur_time(set_M_time *m_time, _SW_BUTT0N  sw_button){
      switch(sw_button){
      case SW_ONE:
         //if(mode==TIME_SET)
		 if(switch_viewmode == switch_normalTimeSet){
            set_time++;
            if(set_time > SECOND) set_time = YEAR;
         }
		 //else if(mode==ALARM_SET)
		 else if(switch_viewmode == switch_alarmTimeSet)
		 {
            setalarm++;
            if(setalarm > aMINUTE) setalarm = aMONTH;
         }

         //if(view == VIEW_TEST)
		 if(switch_viewmode == switch_test)
         {
			testNum3++;
            if(testNum3 > 4)
            {testNum3 = 0;}
         }
         break;

      case SW_TWO:
         //if(mode==TIME_SET)
    	 if(switch_viewmode ==switch_normalTimeSet)
         {
            if(set_time==AMPM){
               AMPM_Change ^= 1;
            }else if(set_time==HOUR){
               m_time -> m_Hour++;
               if(m_time -> m_Hour >23) m_time -> m_Hour = 0;
            }else if(set_time==MINUTE){
               m_time -> m_Min++;
               if(m_time -> m_Min >= 60) m_time -> m_Min = 0;
            }else if(set_time==YEAR){
               m_time ->m_Year++;
               if(m_time ->m_Year > 99) m_time ->m_Year = 0;
            }else if(set_time==MONTH){
               d_months++;
               if(d_months > 12) d_months = 1;
               m_time ->m_Months = d_months;
            }else if(set_time==DATE){
               m_time -> m_Date++;
               if(m_time -> m_Date > 31) m_time -> m_Date = 1;  //%%%%%%%%%% error error error=========  !!!!!!!!!!!!!==============//
            }
         }

         //if(mode==ALARM_SET)
    	 if(switch_viewmode == switch_alarmTimeSet)
         {
            if(setalarm==aHOUR){
               m_time -> m_Hour++;
               if(m_time -> m_Hour >23) m_time -> m_Hour = 0;
            }else if(setalarm==aMINUTE){
               m_time -> m_Min++;
               if(m_time -> m_Min >= 60) m_time -> m_Min = 0;
            }else if(setalarm==aMONTH){
               //d_months++;
               m_time -> m_Months++;
               //if(d_months > 12) d_months = 1;
               if(m_time -> m_Months > 12) m_time -> m_Months = 1;
               //m_time ->m_Months = d_months;
            }else if(setalarm==aDATE){
               m_time -> m_Date++;
               if(m_time -> m_Date > 31) m_time -> m_Date = 1;  //%%%%%%%%%% error error error=========  !!!!!!!!!!!!!==============//
            }
         }
         break;

      case SW_THREE:
         //if(mode==TIME_SET)
    	  if(switch_viewmode ==switch_normalTimeSet)
         {
            if(set_time==AMPM){
               AMPM_Change ^= 1;
            }else if(set_time==HOUR){
               m_time -> m_Hour--;
               if(!(m_time -> m_Hour >= 0 && m_time -> m_Hour < 24)) m_time -> m_Hour = 23;
            }else if(set_time==MINUTE){
               m_time -> m_Min--;
               if(!(m_time -> m_Min >= 0 && m_time -> m_Min < 60)) m_time -> m_Min = 59;
            }else if(set_time==YEAR){
               m_time ->m_Year--;
               if(!(m_time ->m_Year >= 0&& m_time ->m_Year <= 99)) m_time ->m_Year = 99;
            }else if(set_time==MONTH){
               d_months--;
               if(d_months < 1) d_months = 12;
               m_time ->m_Months = d_months;
            }else if(set_time==DATE){
               m_time -> m_Date--;
               if(m_time -> m_Date < 1) m_time -> m_Date = 31;  //%%%%%%%%%% error error error=========  !!!!!!!!!!!!!==============//
            }
         }

         //if(mode==ALARM_SET)
    	  if(switch_viewmode == switch_alarmTimeSet)
         {
            if(setalarm==aHOUR){
               m_time -> m_Hour--;
               if(!(m_time -> m_Hour >= 0 && m_time -> m_Hour < 24)) m_time -> m_Hour = 23;
            }else if(setalarm==aMINUTE){
               m_time -> m_Min--;
               if(!(m_time -> m_Min >= 0 && m_time -> m_Min < 60)) m_time -> m_Min = 59;
            }else if(setalarm==aMONTH){
               //d_months--;
               m_time -> m_Months--;
               //if(d_months < 1) d_months = 12;
               if(!(m_time -> m_Months >=1 && m_time -> m_Months <=12)) m_time -> m_Months = 12;
               //m_time ->m_Months = d_months;
            }else if(setalarm==aDATE){
               m_time -> m_Date--;
               if(m_time -> m_Date < 1) m_time -> m_Date = 31;  //%%%%%%%%%% error error error=========  !!!!!!!!!!!!!==============//
            }
         }
         break;
      case SW_FOUR:
         //if(mode==NO_SET)
//    	 if(switch_viewmode == 0 ||
//    			 switch_viewmode == 1 ||
//				 switch_viewmode == 2 ||
//				 switch_viewmode == 3 ||
//				 switch_viewmode == 4 ||
//				 switch_viewmode == 5)
//         { 														// view , normal, alarm, test
            //view++;
    		if(switch_viewmode == switch_normal){
    			switch_viewmode = switch_alarm;
    		}else if(switch_viewmode == switch_alarm){
				switch_viewmode = switch_test;
			}else if(switch_viewmode == switch_test){
				switch_viewmode = switch_normal;
			}

//            if(view == VIEW_VIEW) view = VIEW_NORMAL;
//            if(view > VIEW_TEST) view = VIEW_NORMAL;

         //}
         break;
      case NONE:
         break;
      }// end switch
      sw_button=NONE;
   }

//---------------------------------moter test----------------//
void MoterCreate(MoterControl *M_obj)
{
   M_obj -> MoterPower14 = 0;
   M_obj -> MoterPower23 = 0;

   M_obj -> MoterStart14 = false;
   M_obj -> MoterStart23 = false;
   M_obj -> PWM_l = 200;
}
void ChangeMstate14F(MoterControl *M_obj){
   M_obj -> MoterStart14 = false;
}
void ChangeMstate14T(MoterControl *M_obj){
   M_obj -> MoterStart14 = true;
}
void ChangeMstate23F(MoterControl *M_obj){
   M_obj -> MoterStart23 = false;
}
void ChangeMstate23T(MoterControl *M_obj){
   M_obj -> MoterStart23 = true;
}
void MoterStart1(MoterControl *M_obj)
{
   if(M_obj -> MoterStart14 == true && M_obj -> MoterPower14 ==0){//M_obj -> MoterPower ==0
      HAL_TIM_PWM_Start(&htim5, TIM_CHANNEL_1);  // dc moter
      HAL_TIM_PWM_Start(&htim5, TIM_CHANNEL_4);  // dc moter

   }else if(M_obj -> MoterStart14 == false  && M_obj -> MoterPower14 ==0){
      HAL_TIM_PWM_Stop(&htim5, TIM_CHANNEL_1);  // dc moter
      HAL_TIM_PWM_Stop(&htim5, TIM_CHANNEL_4);  // dc moter

   }
   if(M_obj -> MoterStart23 == true  && M_obj -> MoterPower23 ==0){ //Moter23_PWM_Leval
      HAL_TIM_PWM_Start(&htim5, TIM_CHANNEL_2);  // dc moter
      HAL_TIM_PWM_Start(&htim5, TIM_CHANNEL_3);  // dc moter
      //test_num6 = 10;
   }else if(M_obj -> MoterStart23 == false  && M_obj -> MoterPower23 ==0){
      HAL_TIM_PWM_Stop(&htim5, TIM_CHANNEL_2);  // dc moter
      HAL_TIM_PWM_Stop(&htim5, TIM_CHANNEL_3);  // dc moter
      //test_num6 = 20;
   }
}
void MoterMoving(MoterControl *M_obj)
{
   if(M_obj -> MoterStart14 == true && M_obj -> MoterPower14 < 9900){
      M_obj -> MoterPower14 += M_obj -> PWM_l;
      __HAL_TIM_SET_COMPARE(&htim5, TIM_CHANNEL_1, M_obj -> MoterPower14);

   }else if(M_obj ->MoterStart14 == false && M_obj -> MoterPower14 >0){
      M_obj -> MoterPower14 -= M_obj -> PWM_l;
      __HAL_TIM_SET_COMPARE(&htim5, TIM_CHANNEL_1, M_obj -> MoterPower14);
   }

   if(M_obj -> MoterStart23 == true && M_obj -> MoterPower23 < 9900){
      M_obj -> MoterPower23 += M_obj -> PWM_l;
      __HAL_TIM_SET_COMPARE(&htim5, TIM_CHANNEL_2, M_obj -> MoterPower23);

   }else if(M_obj ->MoterStart23 == false && M_obj -> MoterPower23 >0){
      M_obj -> MoterPower23 -= M_obj -> PWM_l;
      __HAL_TIM_SET_COMPARE(&htim5, TIM_CHANNEL_2, M_obj -> MoterPower23);
   }
   view_MoterPower14 = M_obj -> MoterPower14;
   view_MoterPower23 = M_obj -> MoterPower23;
}

//_________----------------------------------------moter test end-------//

//$$$$$$$$$$$$$$$$$$$$$$$$$$$$$$$$$$$$$$$$$$$$$$$$$$$$$$$$$$$$$$$$$$$$$$$$$$$$$$$$$$$$$$$$$$$$$$$$$$$$$$$$$$$$$$$$$

void HAL_UART_RxCpltCallback(UART_HandleTypeDef *huart)
{
   if(huart->Instance == USART3)
   {
      //HAL_UART_Receive_IT(&huart3,  &rx3_data, 1);
      //HAL_UART_Transmit(&huart3, &rx3_data, 1, 10);
   }
}

void HAL_TIM_PeriodElapsedCallback(TIM_HandleTypeDef *htim)
{
   static unsigned char cnt = 0;
   uint8_t blink_time=0;
   //static unsigned char blink_cnt = 0;
   if(htim->Instance == TIM7)  //1.0s
   {
      //HAL_GPIO_TogglePin(GPIOD, GPIO_PIN_13);

      //cnt++;
      //test_num7++;

      //if(alarm_flag == 0)
      //{alarm_flag = 1;}
      //else if(alarm_flag == 1)
      //{alarm_flag = 0;}

   }

   if(htim -> Instance == TIM6) //0.5s
   {
      //test_num6++;
   }

   if(htim -> Instance == TIM13)//1s
   {

   }

   if(htim -> Instance == TIM14)//1s
   {

   }

}

void HAL_GPIO_EXTI_Callback(uint16_t GPIO_Pin) // if switch in action
{
   old_tick=HAL_GetTick(); // just pressed time
   current_tick=HAL_GetTick();// continue check now time = Current time qudtls

   if(GPIO_Pin == GPIO_PIN_3)  // SW1 mode change
   {
//--------------------------------------------------------------------------------------------------------------------//sw2
   }
   if(GPIO_Pin == GPIO_PIN_15) //SW2 time up // AMPM Change
      {
//--------------------------------------------------------------------------------------------------------------------//sw3
      }
   if(GPIO_Pin == GPIO_PIN_4) //SW3 time down
      {

      }
//--------------------------------------------------------------------------------------------------------------------//sw4
   if(GPIO_Pin == GPIO_PIN_10) //SW4
      {

      }
}
uint32_t HAL_GetTick(void)
{
  return uwTick; //0.001s = 1ms
}
//-======================================================//

void time_inc(void)
{
   static uint32_t _msec = 0;
   static uint32_t _msecP2 = 0;
   _msec++;
   _msecP2++;
   if (_msec >= 1000)
   {
      _msec = 0;
      time_sec++; //1s
      //i++;
   }

   if (_msecP2 >= 500)
   {
      _msecP2 = 0;
      toggle ^= 1;
   }
}

/* USER CODE END 4 */

void Error_Handler(void)
{
  __disable_irq();
  while (1)
  {
  }
}
